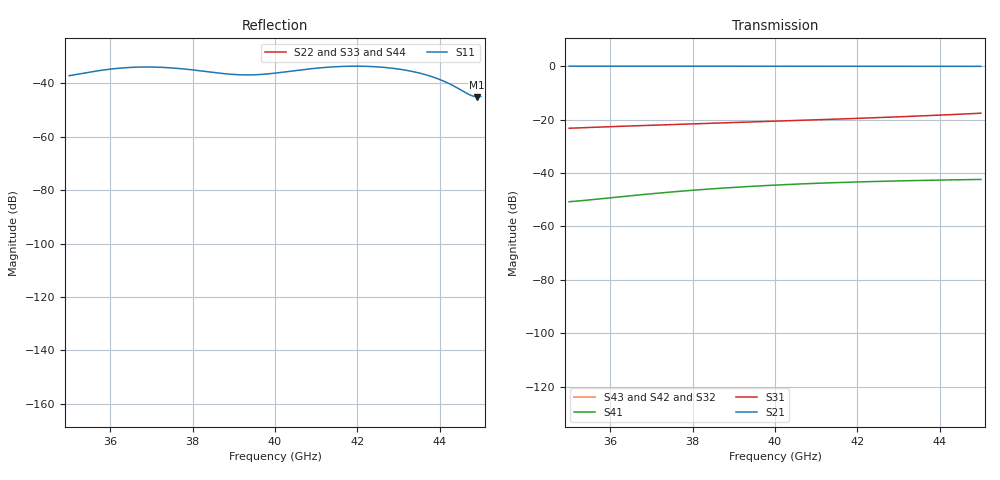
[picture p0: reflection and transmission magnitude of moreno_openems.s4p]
! Moreno cross-guide coupler, openEMS FDTD
! only column 1 (port 1 excited) and, by reciprocity, row 1 are simulated; other entries are zero
! S-parameters are normalised to each port's TE10 wave impedance (generalised
! S-matrix); 'R 50' below is only the placeholder the format requires.
! Reference planes: edges of the common a x a square.
# GHz S MA R 50
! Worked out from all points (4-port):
!   201 points, 35 GHz to 45 GHz, reference 50 ohm
!   strongest paths, dB at 35 GHz, 37.5 GHz, 40 GHz, 42.5 GHz, 45 GHz:
!     S21: 0.0, 0.0, 0.0, 0.0, -0.1
!     S31: -23.3, -21.9, -20.6, -19.3, -17.6
!     S41: -50.8, -47.1, -44.6, -43.2, -42.4
!     S43: -, -, -, -, -
!     S42: -, -, -, -, -
!     S32: -, -, -, -, -
!   lowest |S11| = -45.1 dB at 44.9 GHz (marker M1), VSWR 1.01, Z = 50.5 + j0.309 ohm
!   |S11| at or under -10 dB: start of sweep to end of sweep
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35  0.01391 -138.0  0.9971 -163.0  0.06867 107.0  0.002888 109.2
    0.9971 -163.0  0 0.0  0 0.0  0 0.0
    0.06867 107.0  0 0.0  0 0.0  0 0.0
    0.002888 109.2  0 0.0  0 0.0  0 0.0
36.7  0.02016 -87.6  0.9977 179.2  0.07676 89.3  0.003872 96.5
      0.9977 179.2  0 0.0  0 0.0  0 0.0
      0.07676 89.3  0 0.0  0 0.0  0 0.0
      0.003872 96.5  0 0.0  0 0.0  0 0.0
38.45  0.0162 -42.6  0.9963 161.7  0.08503 71.7  0.005026 76.1
       0.9963 161.7  0 0.0  0 0.0  0 0.0
       0.08503 71.7  0 0.0  0 0.0  0 0.0
       0.005026 76.1  0 0.0  0 0.0  0 0.0
42.4  0.02054 74.8  0.9947 123.6  0.1079 33.6  0.006913 25.1
      0.9947 123.6  0 0.0  0 0.0  0 0.0
      0.1079 33.6  0 0.0  0 0.0  0 0.0
      0.006913 25.1  0 0.0  0 0.0  0 0.0
43.7  0.0142 83.0  0.9927 111.1  0.1182 21.0  0.00728 7.7
      0.9927 111.1  0 0.0  0 0.0  0 0.0
      0.1182 21.0  0 0.0  0 0.0  0 0.0
      0.00728 7.7  0 0.0  0 0.0  0 0.0
44.9  0.005587 33.2  0.991 99.6  0.1303 9.4  0.007535 -11.6
      0.991 99.6  0 0.0  0 0.0  0 0.0
      0.1303 9.4  0 0.0  0 0.0  0 0.0
      0.007535 -11.6  0 0.0  0 0.0  0 0.0
45  0.005689 20.7  0.9909 98.6  0.1315 8.5  0.00755 -13.5
    0.9909 98.6  0 0.0  0 0.0  0 0.0
    0.1315 8.5  0 0.0  0 0.0  0 0.0
    0.00755 -13.5  0 0.0  0 0.0  0 0.0
